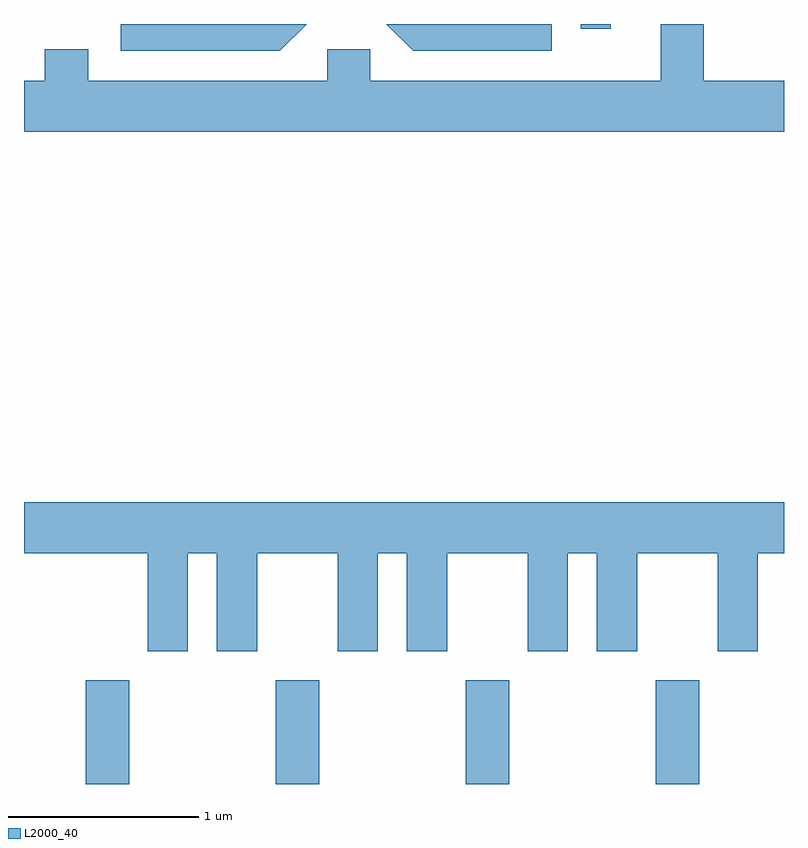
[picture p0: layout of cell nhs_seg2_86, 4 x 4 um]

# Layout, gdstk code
import gdstk
lib = gdstk.Library(unit=1e-6, precision=1e-09)
def R(c, l, rs):  # rectangles x0, y0, x1, y1
    for r in rs: c.add(gdstk.rectangle(r[:2], r[2:], *l))
def A(c, l, x, y, w, h, nx, ny, dx, dy):  # array of equal rectangles
    R(c, l, [(x+i*dx, y+j*dy, x+i*dx+w, y+j*dy+h) for i in range(nx) for j in range(ny)])
def P(c, l, *ps):  # polygons
    for p in ps: c.add(gdstk.Polygon(p, *l))
L2000_40 = (2000, 40)

nhs_seg2_86 = lib.new_cell('nhs_seg2_86')
A(nhs_seg2_86, L2000_40, 187.936, 1013.802, 0.228, 0.547, 4, 1, 1, 0)
R(nhs_seg2_86, L2000_40, [(190.541,1017.778,190.699,1017.802)])
P(nhs_seg2_86, L2000_40, [(190.389,1017.802),(189.518,1017.802),(189.659,1017.661),(190.389,1017.661)],
  [(189.098,1017.802),(188.121,1017.802),(188.121,1017.661),(188.957,1017.661)],
  [(191.611,1017.504),(191.189,1017.504),(191.189,1017.802),(190.961,1017.802),(190.961,1017.504),(189.434,1017.504),(189.434,1017.669),(189.206,1017.669),(189.206,1017.504),(187.949,1017.504),(187.949,1017.669),(187.721,1017.669),(187.721,1017.504),(187.611,1017.504),(187.611,1017.236),(191.611,1017.236)],
  [(188.474,1015.016),(188.626,1015.016),(188.626,1014.501),(188.839,1014.501),(188.839,1015.016),(189.261,1015.016),(189.261,1014.501),(189.474,1014.501),(189.474,1015.016),(189.626,1015.016),(189.626,1014.501),(189.839,1014.501),(189.839,1015.016),(190.261,1015.016),(190.261,1014.501),(190.474,1014.501),(190.474,1015.016),(190.626,1015.016),(190.626,1014.501),(190.839,1014.501),(190.839,1015.016),(191.261,1015.016),(191.261,1014.501),(191.474,1014.501),(191.474,1015.016),(191.611,1015.016),(191.611,1015.284),(187.611,1015.284),(187.611,1015.016),(188.261,1015.016),(188.261,1014.501),(188.474,1014.501)])

lib.write_gds('nhs_seg2_86.gds')
